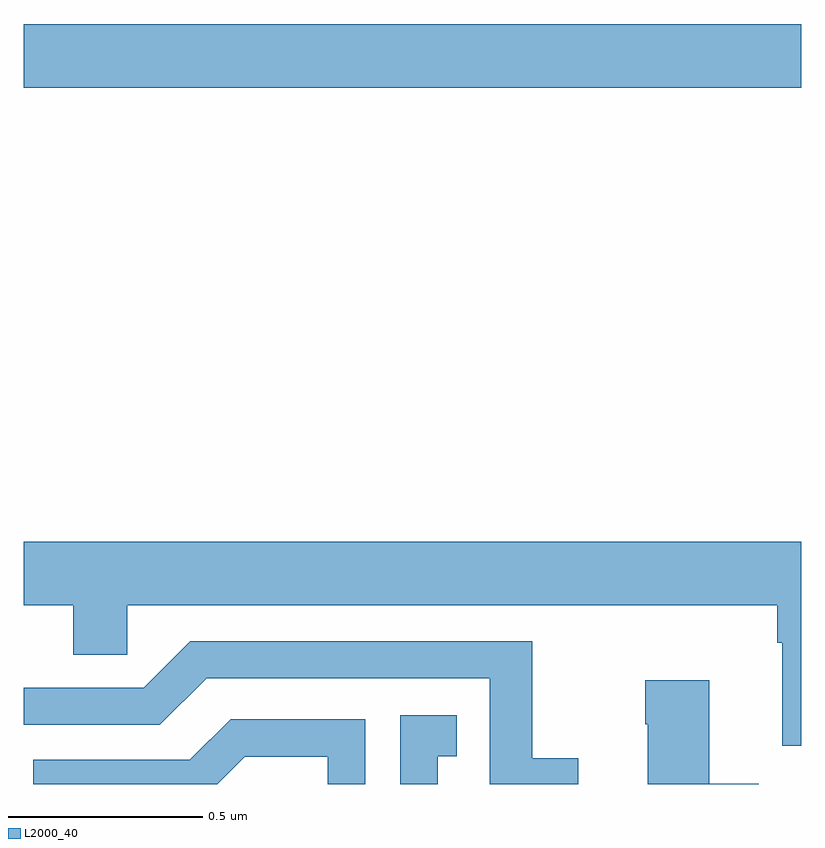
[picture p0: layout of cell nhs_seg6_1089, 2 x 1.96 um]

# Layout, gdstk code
import gdstk
lib = gdstk.Library(unit=1e-6, precision=1e-09)
def R(c, l, rs):  # rectangles x0, y0, x1, y1
    for r in rs: c.add(gdstk.rectangle(r[:2], r[2:], *l))
def P(c, l, *ps):  # polygons
    for p in ps: c.add(gdstk.Polygon(p, *l))
L2000_40 = (2000, 40)

nhs_seg6_1089 = lib.new_cell('nhs_seg6_1089')
R(nhs_seg6_1089, L2000_40, [(124,991.292,126,991.456)])
P(nhs_seg6_1089, L2000_40, [(126,990.124),(124,990.124),(124,989.96),(124.127,989.96),(124.127,989.833),(124.266,989.833),(124.266,989.96),(125.939,989.96),(125.939,989.864),(125.951,989.864),(125.951,989.598),(126,989.598)],
  [(125.426,989.566),(125.308,989.566),(125.308,989.868),(124.428,989.868),(124.308,989.748),(124,989.748),(124,989.652),(124.35,989.652),(124.47,989.772),(125.199,989.772),(125.199,989.5),(125.426,989.5)],
  [(125.891,989.501),(125.764,989.501),(125.764,989.767),(125.599,989.767),(125.599,989.654),(125.606,989.654),(125.606,989.5),(125.891,989.5)],
  [(125.065,989.571),(125.114,989.571),(125.114,989.677),(124.968,989.677),(124.968,989.5),(125.065,989.5)],
  [(124.568,989.57),(124.782,989.57),(124.782,989.5),(124.878,989.5),(124.878,989.667),(124.532,989.667),(124.427,989.562),(124.024,989.562),(124.024,989.5),(124.498,989.5)])

lib.write_gds('nhs_seg6_1089.gds')
